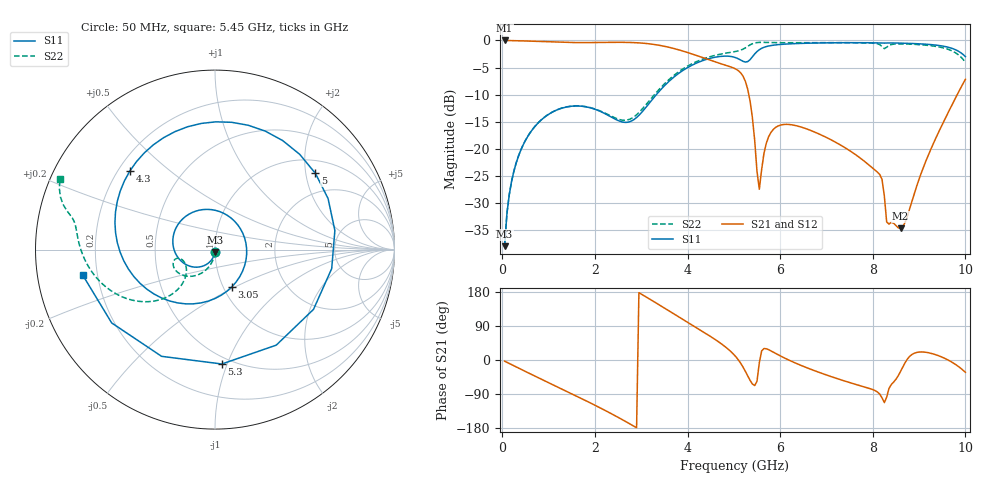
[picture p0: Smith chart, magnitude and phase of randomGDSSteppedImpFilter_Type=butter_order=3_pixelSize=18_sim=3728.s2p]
! freq	dB(S11)	phase(S11)	dB(S12)	phase(S12)
!  dB(S21)	phase(S21)	dB(S22)	phase(S22)
!S-par simulation data
#  GHz  S  DB  R 50
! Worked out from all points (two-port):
!   200 points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, 50 MHz to 10 GHz, reference 50 ohm
!   highest |S21| = -0.01 dB at 50 MHz (marker M1); lowest = -34.6 dB at 8.6 GHz (marker M2)
!   |S21| within 3 dB of the highest: start of sweep to 4.274 GHz
!   lowest |S11| = -37.9 dB at 50 MHz (marker M3), VSWR 1.03, Z = 49.9 - j1.27 ohm
!   |S11| at or under -10 dB: start of sweep to 3.325 GHz
!   |S22| runs from -37.8 to -0.4 dB; largest |S21 - S12| = 0
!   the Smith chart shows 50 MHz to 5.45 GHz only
!   S11 on the Smith chart (normalised r, x): 50 MHz: 1.00, -0.03; 3.05 GHz: 1.10, -0.48; 4.3 GHz: 0.25, +0.37; 5 GHz: 1.35, +2.27; 5.3 GHz: 0.44, -0.96; 5.45 GHz: 0.14, -0.09
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0.05  -37.89 -93.5  -0.01 -3.1  -0.01 -3.1  -37.84 -91.9
0.2  -25.98 -105.3  -0.03 -12.2  -0.03 -12.2  -25.96 -99.3
0.5  -18.42 -128.3  -0.10 -30.3  -0.10 -30.3  -18.40 -113.2
1.75  -12.15 131.2  -0.40 -104.2  -0.40 -104.2  -12.12 -160.4
2.5  -14.75 39.3  -0.35 -151.2  -0.35 -151.2  -14.48 -161.5
3.05  -12.85 -65.6  -0.52 170.5  -0.52 170.5  -12.36 -135.2
3.4  -9.27 -118.6  -0.91 144.6  -0.91 144.6  -8.89 -134.6
4.3  -3.80 137.4  -3.08 77.2  -3.08 77.2  -3.53 -164.7
4.7  -2.95 89.5  -4.24 45.4  -4.24 45.4  -2.54 -179.7
5  -3.07 37.2  -5.10 14.4  -5.10 14.4  -2.10 170.9
5.05  -3.21 24.3  -5.31 7.6  -5.31 7.6  -2.02 169.6
5.2  -3.85 -31.3  -6.60 -19.0  -6.60 -19.0  -1.60 166.5
5.3  -3.90 -86.6  -9.00 -42.0  -9.00 -42.0  -1.09 163.5
5.45  -2.49 -169.0  -18.39 -67.4  -18.39 -67.4  -0.47 155.6
5.55  -1.71 153.5  -27.41 -7.4  -27.41 -7.4  -0.36 150.0
5.85  -0.88 93.2  -16.41 20.9  -16.41 20.9  -0.40 137.0
6.7  -0.49 20.3  -16.72 -26.3  -16.72 -26.3  -0.41 106.5
8.15  -0.47 -51.6  -24.68 -89.9  -24.68 -89.9  -0.77 48.7
8.35  -0.46 -59.6  -33.82 -75.1  -33.82 -75.1  -0.92 46.6
8.6  -0.50 -70.0  -34.61 -30.1  -34.61 -30.1  -0.64 33.8
9.4  -0.90 -105.1  -17.28 12.2  -17.28 12.2  -1.15 -9.3
10  -2.98 -143.6  -7.16 -32.4  -7.16 -32.4  -4.04 -59.5
